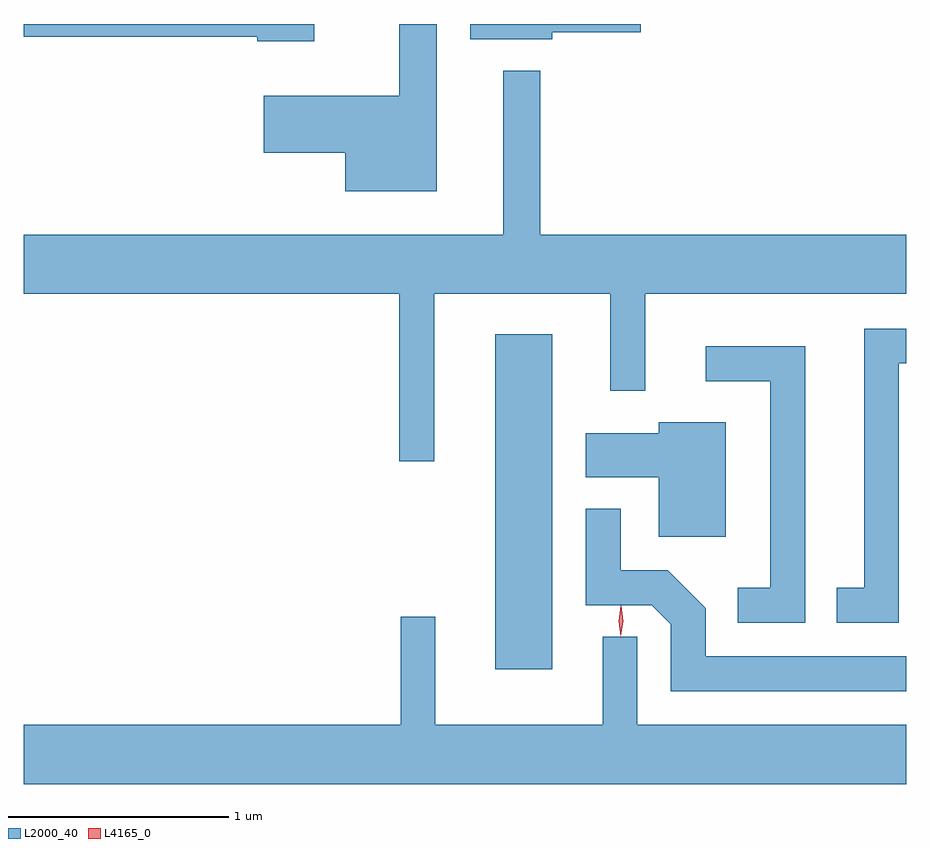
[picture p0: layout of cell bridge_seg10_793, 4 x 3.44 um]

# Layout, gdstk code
import gdstk
lib = gdstk.Library(unit=1e-6, precision=1e-09)
def R(c, l, rs):  # rectangles x0, y0, x1, y1
    for r in rs: c.add(gdstk.rectangle(r[:2], r[2:], *l))
def P(c, l, *ps):  # polygons
    for p in ps: c.add(gdstk.Polygon(p, *l))
L2000_40 = (2000, 40)
L4165_0 = (4165, 0)

bridge_seg10_793 = lib.new_cell('bridge_seg10_793')
R(bridge_seg10_793, L2000_40, [(381.736,2103.336,381.994,2104.854)])
P(bridge_seg10_793, L2000_40, [(380.914,2106.259),(379.598,2106.259),(379.598,2106.201),(380.656,2106.201),(380.656,2106.181),(380.914,2106.181)],
  [(381.469,2106.259),(381.301,2106.259),(381.301,2105.934),(380.686,2105.934),(380.686,2105.676),(381.056,2105.676),(381.056,2105.501),(381.469,2105.501)],
  [(381.994,2106.221),(382.394,2106.221),(382.394,2106.259),(381.621,2106.259),(381.621,2106.191),(381.994,2106.191)],
  [(381.459,2105.036),(382.256,2105.036),(382.256,2104.598),(382.414,2104.598),(382.414,2105.036),(383.598,2105.036),(383.598,2105.304),(381.939,2105.304),(381.939,2106.048),(381.771,2106.048),(381.771,2105.304),(379.598,2105.304),(379.598,2105.036),(381.301,2105.036),(381.301,2104.278),(381.459,2104.278)],
  [(383.564,2104.721),(383.598,2104.721),(383.598,2104.879),(383.406,2104.879),(383.406,2103.704),(383.283,2103.704),(383.283,2103.546),(383.564,2103.546)],
  [(383.139,2104.799),(382.688,2104.799),(382.688,2104.641),(382.981,2104.641),(382.981,2103.704),(382.833,2103.704),(382.833,2103.546),(383.139,2103.546)],
  [(382.779,2104.454),(382.476,2104.454),(382.476,2104.404),(382.146,2104.404),(382.146,2104.206),(382.476,2104.206),(382.476,2103.936),(382.779,2103.936)],
  [(383.598,2103.394),(382.689,2103.394),(382.689,2103.612),(382.517,2103.784),(382.304,2103.784),(382.304,2104.063),(382.146,2104.063),(382.146,2103.626),(382.444,2103.626),(382.531,2103.539),(382.531,2103.236),(383.598,2103.236)],
  [(383.598,2103.084),(382.379,2103.084),(382.379,2103.483),(382.221,2103.483),(382.221,2103.084),(381.464,2103.084),(381.464,2103.573),(381.306,2103.573),(381.306,2103.084),(379.598,2103.084),(379.598,2102.816),(383.598,2102.816)])
P(bridge_seg10_793, L4165_0, [(382.303,2103.484),(382.303,2103.485),(382.294,2103.554),(382.304,2103.623),(382.305,2103.624),(382.305,2103.623),(382.314,2103.554),(382.304,2103.485)],
  [(382.303,2103.488),(382.303,2103.488),(382.294,2103.554),(382.304,2103.62),(382.304,2103.621),(382.305,2103.62),(382.314,2103.554),(382.304,2103.488)])

lib.write_gds('bridge_seg10_793.gds')
